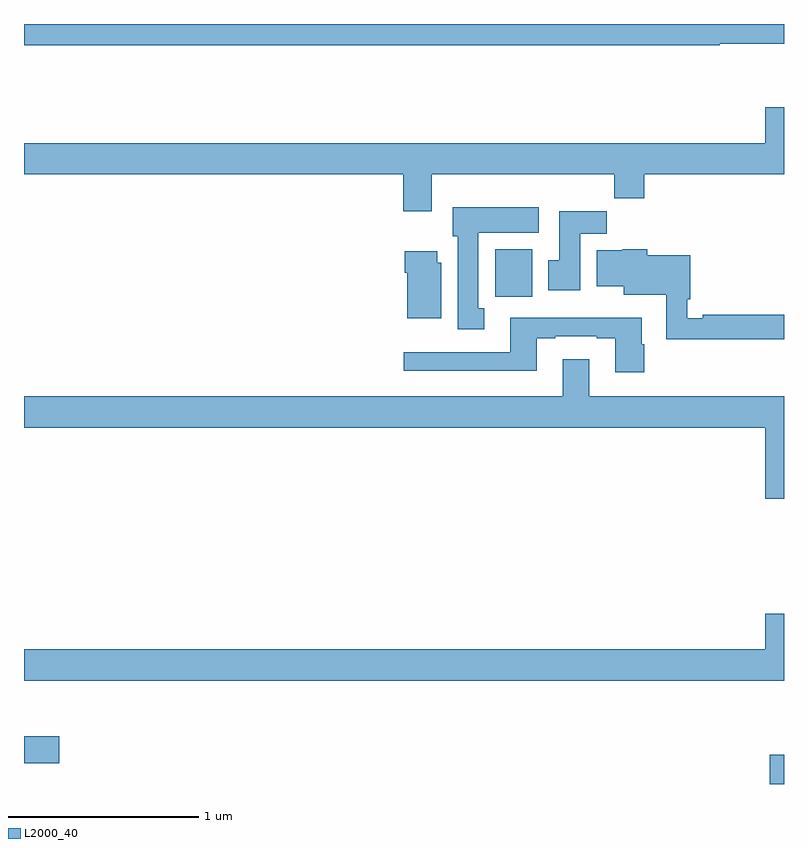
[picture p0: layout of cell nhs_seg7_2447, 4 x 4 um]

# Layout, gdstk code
import gdstk
lib = gdstk.Library(unit=1e-6, precision=1e-09)
def R(c, l, rs):  # rectangles x0, y0, x1, y1
    for r in rs: c.add(gdstk.rectangle(r[:2], r[2:], *l))
def P(c, l, *ps):  # polygons
    for p in ps: c.add(gdstk.Polygon(p, *l))
L2000_40 = (2000, 40)

nhs_seg7_2447 = lib.new_cell('nhs_seg7_2447')
R(nhs_seg7_2447, L2000_40, [(272.924,1072,273,1072.155), (269,1072.109,269.185,1072.251), (271.479,1074.564,271.675,1074.814)])
P(nhs_seg7_2447, L2000_40, [(272.662,1075.896),(273,1075.896),(273,1076),(269,1076),(269,1075.888),(272.662,1075.888)],
  [(271.147,1075.208),(272.107,1075.208),(272.107,1075.084),(272.264,1075.084),(272.264,1075.208),(273,1075.208),(273,1075.561),(272.9,1075.561),(272.9,1075.372),(269,1075.372),(269,1075.208),(270.995,1075.208),(270.995,1075.014),(271.147,1075.014)],
  [(271.423,1074.505),(271.39,1074.505),(271.39,1074.902),(271.708,1074.902),(271.708,1075.036),(271.256,1075.036),(271.256,1074.882),(271.283,1074.882),(271.283,1074.393),(271.423,1074.393)],
  [(271.927,1074.896),(272.066,1074.896),(272.066,1075.015),(271.817,1075.015),(271.817,1074.756),(271.76,1074.756),(271.76,1074.6),(271.927,1074.6)],
  [(273,1074.47),(272.572,1074.47),(272.572,1074.452),(272.491,1074.452),(272.491,1074.552),(272.506,1074.552),(272.506,1074.783),(272.279,1074.783),(272.279,1074.814),(272.148,1074.814),(272.148,1074.808),(272.015,1074.808),(272.015,1074.62),(272.156,1074.62),(272.156,1074.575),(272.379,1074.575),(272.379,1074.342),(273,1074.342)],
  [(271.195,1074.744),(271.174,1074.744),(271.174,1074.805),(271.004,1074.805),(271.004,1074.692),(271.016,1074.692),(271.016,1074.452),(271.195,1074.452)],
  [(272.264,1074.315),(272.251,1074.315),(272.251,1074.454),(271.559,1074.454),(271.559,1074.273),(270.999,1074.273),(270.999,1074.176),(271.699,1074.176),(271.699,1074.345),(271.795,1074.345),(271.795,1074.357),(272.015,1074.357),(272.015,1074.345),(272.111,1074.345),(272.111,1074.168),(272.264,1074.168)],
  [(273,1074.04),(271.975,1074.04),(271.975,1074.235),(271.835,1074.235),(271.835,1074.04),(269,1074.04),(269,1073.876),(272.9,1073.876),(272.9,1073.502),(273,1073.502)],
  [(273,1072.897),(272.9,1072.897),(272.9,1072.708),(269,1072.708),(269,1072.544),(273,1072.544)])

lib.write_gds('nhs_seg7_2447.gds')
